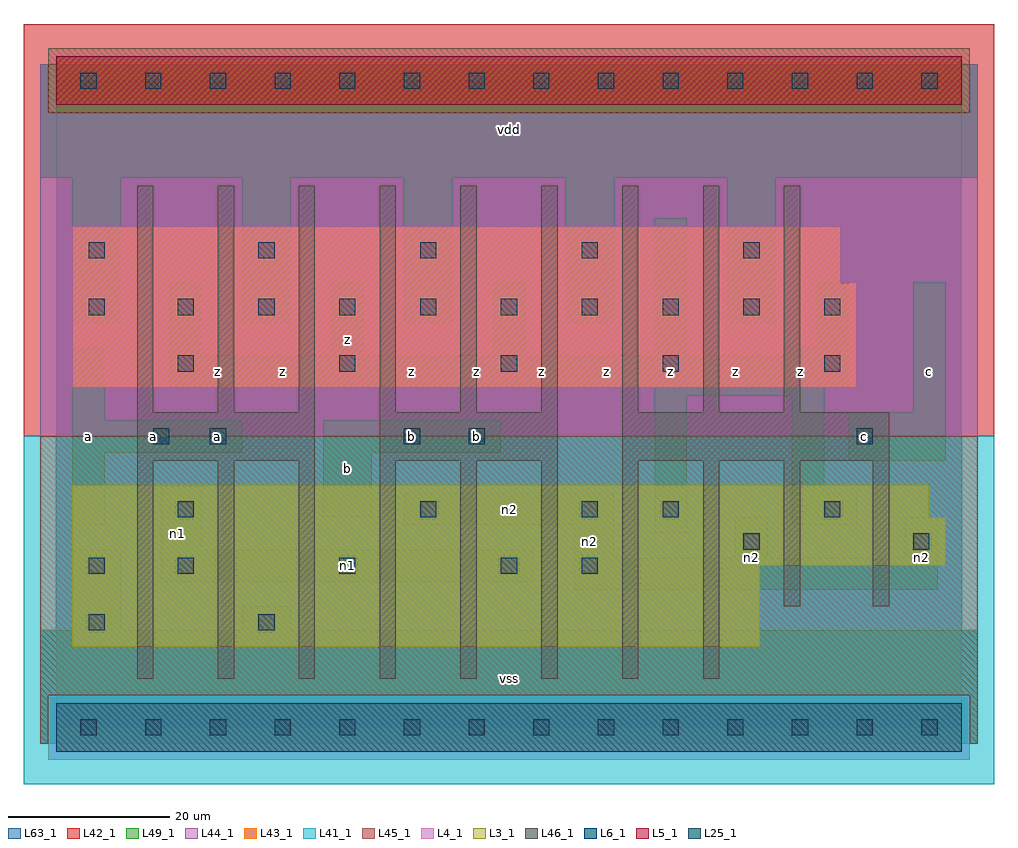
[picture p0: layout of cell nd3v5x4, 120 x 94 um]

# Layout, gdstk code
import gdstk
lib = gdstk.Library(unit=1e-6, precision=1e-09)
def R(c, l, rs):  # rectangles x0, y0, x1, y1
    for r in rs: c.add(gdstk.rectangle(r[:2], r[2:], *l))
def A(c, l, x, y, w, h, nx, ny, dx, dy):  # array of equal rectangles
    R(c, l, [(x+i*dx, y+j*dy, x+i*dx+w, y+j*dy+h) for i in range(nx) for j in range(ny)])
L3_1 = (3, 1)
L4_1 = (4, 1)
L5_1 = (5, 1)
L6_1 = (6, 1)
L25_1 = (25, 1)
L41_1 = (41, 1)
L42_1 = (42, 1)
L43_1 = (43, 1)
L44_1 = (44, 1)
L45_1 = (45, 1)
L46_1 = (46, 1)
L49_1 = (49, 1)
L63_1 = (63, 1)

nd3v5x4 = lib.new_cell('nd3v5x4')
R(nd3v5x4, L3_1, [(2,10,87,20), (2,20,110,26), (2,26,108,30)])
R(nd3v5x4, L4_1, [(2,42,99,55), (2,55,97,62)])
R(nd3v5x4, L5_1, [(0,77,112,83)])
R(nd3v5x4, L6_1, [(0,-3,112,3), (0,-3,112,3)])
A(nd3v5x4, L25_1, 3, -1, 2, 2, 14, 2, 8, 80)
A(nd3v5x4, L25_1, 15, 19, 2, 2, 3, 1, 20, 0)
A(nd3v5x4, L25_1, 15, 44, 2, 2, 5, 1, 20, 0)
A(nd3v5x4, L25_1, 15, 51, 2, 2, 9, 1, 10, 0)
A(nd3v5x4, L25_1, 25, 58, 2, 2, 4, 1, 20, 0)
R(nd3v5x4, L25_1, [(4,12,6,14), (25,12,27,14), (4,19,6,21), (65,19,67,21), (85,22,87,24), (106,22,108,24), (15,26,17,28), (45,26,47,28), (65,26,67,28), (75,26,77,28), (95,26,97,28), (12,35,14,37), (19,35,21,37), (43,35,45,37), (51,35,53,37), (99,35,101,37), (4,51,6,53), (4,58,6,60)])
R(nd3v5x4, L41_1, [(-4,-7,116,36)])
R(nd3v5x4, L42_1, [(-4,36,116,87)])
R(nd3v5x4, L43_1, [(0,-3,112,3), (2,10,87,20), (2,20,110,26), (2,26,108,30), (2,42,99,55), (2,55,97,62), (0,77,112,83)])
R(nd3v5x4, L44_1, [(-1,-4,113,4), (-2,36,114,76), (-2,76,-1,82), (113,76,114,82)])
R(nd3v5x4, L45_1, [(-2,-2,-1,4), (113,-2,114,4), (-2,4,114,36), (-1,76,113,84)])
A(nd3v5x4, L46_1, 10, 6, 2, 27, 8, 1, 10, 0)
A(nd3v5x4, L46_1, 10, 39, 2, 28, 9, 1, 10, 0)
R(nd3v5x4, L46_1, [(90,15,92,33), (101,15,103,33), (10,33,32,39), (40,33,62,39), (70,33,103,39)])
A(nd3v5x4, L49_1, 14, 46, 4, 9, 3, 1, 20, 0)
A(nd3v5x4, L49_1, 23, 50, 6, 18, 4, 1, 20, 0)
R(nd3v5x4, L49_1, [(-2,-2,114,12), (2,12,8,22), (23,12,29,15), (64,17,109,21), (13,18,59,22), (64,21,69,25), (84,21,88,26), (105,21,109,26), (13,22,18,30), (74,24,78,41), (2,25,6,34), (43,25,69,29), (91,25,99,29), (33,26,39,34), (91,29,95,41), (98,33,110,39), (2,34,23,38), (33,34,55,38), (2,38,6,47), (106,39,110,55), (74,41,95,42), (14,42,98,46), (74,46,78,63), (90,46,98,47), (94,47,98,55), (2,50,8,68), (-2,68,114,82)])
R(nd3v5x4, L63_1, [(0,0,112,80)])
nd3v5x4.add(gdstk.Label('n1', (15,24), layer=49, texttype=1))
nd3v5x4.add(gdstk.Label('a', (12,36), layer=49, texttype=1))
nd3v5x4.add(gdstk.Label('a', (4,36), layer=49, texttype=1))
nd3v5x4.add(gdstk.Label('b', (36,32), layer=49, texttype=1))
nd3v5x4.add(gdstk.Label('z', (20,44), layer=49, texttype=1))
nd3v5x4.add(gdstk.Label('a', (20,36), layer=49, texttype=1))
nd3v5x4.add(gdstk.Label('z', (28,44), layer=49, texttype=1))
nd3v5x4.add(gdstk.Label('z', (36,48), layer=49, texttype=1))
nd3v5x4.add(gdstk.Label('vss', (56,6), layer=49, texttype=1))
nd3v5x4.add(gdstk.Label('n1', (36,20), layer=49, texttype=1))
nd3v5x4.add(gdstk.Label('z', (44,44), layer=49, texttype=1))
nd3v5x4.add(gdstk.Label('b', (44,36), layer=49, texttype=1))
nd3v5x4.add(gdstk.Label('z', (52,44), layer=49, texttype=1))
nd3v5x4.add(gdstk.Label('z', (60,44), layer=49, texttype=1))
nd3v5x4.add(gdstk.Label('b', (52,36), layer=49, texttype=1))
nd3v5x4.add(gdstk.Label('vdd', (56,74), layer=49, texttype=1))
nd3v5x4.add(gdstk.Label('n2', (66,23), layer=49, texttype=1))
nd3v5x4.add(gdstk.Label('n2', (56,27), layer=49, texttype=1))
nd3v5x4.add(gdstk.Label('n2', (86,21), layer=49, texttype=1))
nd3v5x4.add(gdstk.Label('z', (68,44), layer=49, texttype=1))
nd3v5x4.add(gdstk.Label('z', (76,44), layer=49, texttype=1))
nd3v5x4.add(gdstk.Label('z', (84,44), layer=49, texttype=1))
nd3v5x4.add(gdstk.Label('n2', (107,21), layer=49, texttype=1))
nd3v5x4.add(gdstk.Label('z', (92,44), layer=49, texttype=1))
nd3v5x4.add(gdstk.Label('c', (108,44), layer=49, texttype=1))
nd3v5x4.add(gdstk.Label('c', (100,36), layer=49, texttype=1))

lib.write_gds('nd3v5x4.gds')
